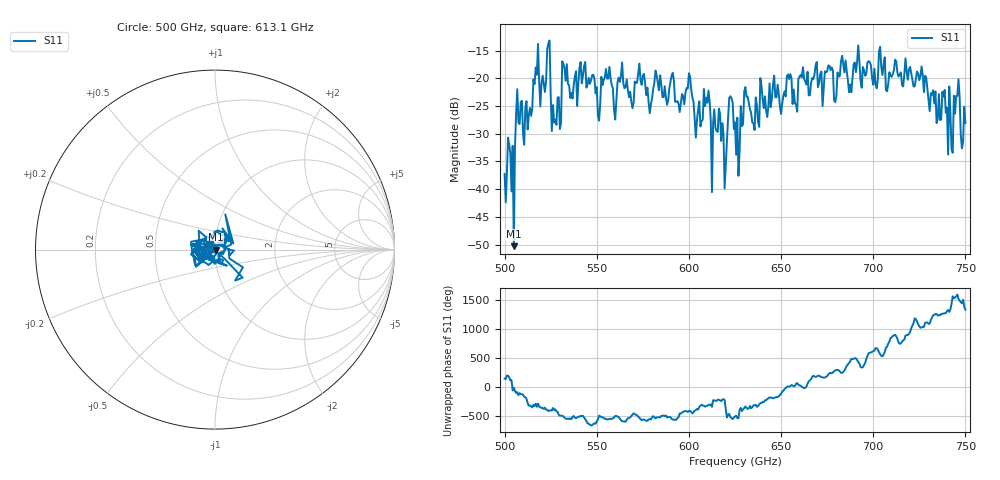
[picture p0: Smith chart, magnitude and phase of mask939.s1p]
!Created with skrf (http://scikit-rf.org).
# GHz S MA R 50.0
!freq magS11 angS11
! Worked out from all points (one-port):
!   401 points, 500 GHz to 750 GHz, reference 50 ohm
!   lowest |S11| = -50.3 dB at 505 GHz (marker M1), VSWR 1.01, Z = 50.3 - j0.0632 ohm
!   |S11| at or under -10 dB: start of sweep to end of sweep
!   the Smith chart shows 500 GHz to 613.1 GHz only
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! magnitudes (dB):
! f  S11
! 500 GHz  -37.3
! 505 GHz  -50.3
! 507.5 GHz  -28.0
! 513.8 GHz  -25.3
! 516.9 GHz  -18.0
! 520.6 GHz  -19.5
! 523.8 GHz  -13.7
! 526.9 GHz  -28.0
! 531.2 GHz  -16.9
! 542.5 GHz  -19.5
! 550.6 GHz  -26.7
! 556.2 GHz  -20.0
! 559.4 GHz  -25.7
! 562.5 GHz  -20.6
! 593.8 GHz  -24.1
! 609.4 GHz  -23.5
! 618.8 GHz  -30.0
! 622.5 GHz  -23.2
! 625 GHz  -27.9
! 628.1 GHz  -25.0
! 631.2 GHz  -23.3
! 634.4 GHz  -28.0
! 656.2 GHz  -24.6
! 683.8 GHz  -17.5
! 687.5 GHz  -21.1
! 691.2 GHz  -17.0
! 718.8 GHz  -20.3
! 750 GHz  -28.1
